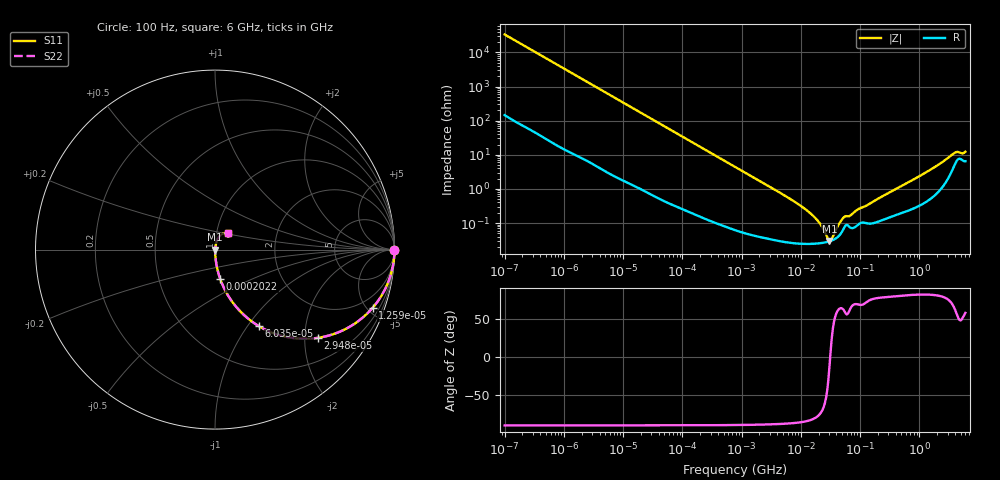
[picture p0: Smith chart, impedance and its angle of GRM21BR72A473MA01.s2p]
!Murata Part Number: GRM21BR72A473MA01
!These Parameters are Measured in Series Mode Connection
!Data Generated on Mar 30, 2021
!  o--ll--o
!Port1  Port2
!  o------o
!Operation Temp=25[degC], DC Bias Voltage=0[V]
!Freq. Start=100[Hz] Stop=6[GHz] 401[Steps]
# Hz S RI R 50
!Freq.(Hz) S11(Real) S11(Imag) S21(Real) S21(Imag) S12(Real) S12(Imag) S22(Real) S22(Imag)
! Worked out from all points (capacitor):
!   401 points, 100 Hz to 6 GHz, reference 50 ohm
!   read as one part in series: C = 47.4 nF near 109 Hz
!   lowest |Z| = 29.8 mohm at 30.45 MHz (marker M1)
!   series resonance near 31.32 MHz, so ESL is about 540 pH
!   S11 on the Smith chart (normalised r, x): 100 Hz: open; 12.59 kHz: 1.03, -5.40; 29.48 kHz: 1.01, -2.31; 60.35 kHz: 1.01, -1.13; 202.2 kHz: 1.00, -0.34; 6 GHz: 1.13, +0.21
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100  1 -0.00298  2.18e-05 0.00298  2.18e-05 0.00298  1 -0.00298
2008  0.9962 -0.0592  0.0038 0.0592  0.0038 0.0592  0.9962 -0.0592
5378  0.9747 -0.1545  0.0253 0.1545  0.0253 0.1545  0.9747 -0.1545
12592  0.878 -0.3246  0.122 0.3246  0.122 0.3246  0.878 -0.3246
29482  0.5718 -0.4919  0.4282 0.4919  0.4282 0.4919  0.5718 -0.4919
40335  0.4178 -0.4901  0.5822 0.4901  0.5822 0.4901  0.4178 -0.4901
60352  0.2443 -0.4264  0.7557 0.4264  0.7557 0.4264  0.2443 -0.4264
103284  0.1009 -0.2974  0.8991 0.2974  0.8991 0.2974  0.1009 -0.2974
202169  0.0294 -0.1647  0.9706 0.1647  0.9706 0.1647  0.0294 -0.1647
774597  0.0026 -0.0445  0.9974 0.0445  0.9974 0.0445  0.0026 -0.0445
6644369  0.000288 -0.00505  0.9997 0.00505  0.9997 0.00505  0.000288 -0.00505
1.555665e7  0.000248 -0.00171  0.9998 0.00171  0.9998 0.00171  0.000248 -0.00171
2.128304e7  0.000257 -0.0009  0.9997 0.0009  0.9997 0.0009  0.000257 -0.0009
3.045065e7  0.000291 -6.45e-05  0.9997 6.45e-05  0.9997 6.45e-05  0.000291 -6.45e-05
3.330331e7  0.000307 0.000143  0.9997 -0.000143  0.9997 -0.000143  0.000307 0.000143
4.35672e7  0.000413 0.000803  0.9996 -0.000803  0.9996 -0.000803  0.000413 0.000803
5.449875e7  0.000756 0.00133  0.9992 -0.00133  0.9992 -0.00133  0.000756 0.00133
6.817316e7  0.000739 0.00147  0.9993 -0.00147  0.9993 -0.00147  0.000739 0.00147
3.124326e8  0.00152 0.00767  0.9985 -0.00767  0.9985 -0.00767  0.00152 0.00767
1.431855e9  0.0057 0.0331  0.9943 -0.0331  0.9943 -0.0331  0.0057 0.0331
3.8344e9  0.0518 0.0911  0.9482 -0.0911  0.9482 -0.0911  0.0518 0.0911
6e9  0.07 0.0914  0.93 -0.0914  0.93 -0.0914  0.07 0.0914
